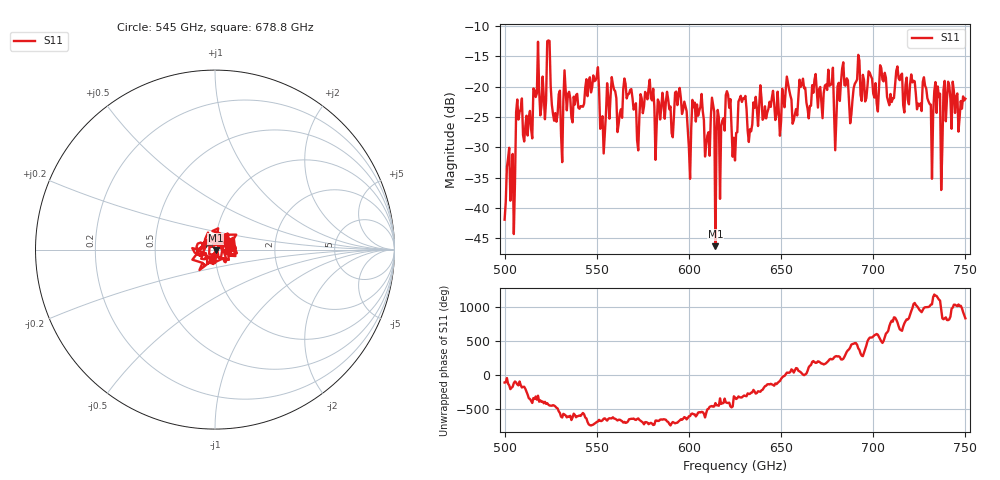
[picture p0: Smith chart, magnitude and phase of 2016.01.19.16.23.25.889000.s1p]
!Created with skrf (http://scikit-rf.org).
# GHz S RI R 50.0
!freq ReS11 ImS11
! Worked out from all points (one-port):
!   401 points, 500 GHz to 750 GHz, reference 50 ohm
!   lowest |S11| = -46.3 dB at 614.4 GHz (marker M1), VSWR 1.01, Z = 50.3 - j0.391 ohm
!   |S11| at or under -10 dB: start of sweep to end of sweep
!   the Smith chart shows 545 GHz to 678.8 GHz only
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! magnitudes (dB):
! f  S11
! 500 GHz  -41.9
! 504.4 GHz  -31.1
! 508.1 GHz  -24.1
! 513.8 GHz  -24.0
! 523.8 GHz  -12.4
! 526.9 GHz  -25.6
! 531.2 GHz  -32.4
! 549.4 GHz  -19.0
! 553.1 GHz  -24.9
! 558.8 GHz  -19.6
! 562.5 GHz  -24.4
! 593.8 GHz  -23.0
! 600 GHz  -30.1
! 605.6 GHz  -24.0
! 614.4 GHz  -46.3
! 621.2 GHz  -21.3
! 625 GHz  -32.2
! 628.1 GHz  -21.5
! 633.1 GHz  -27.0
! 656.2 GHz  -26.1
! 680 GHz  -25.0
! 684.4 GHz  -19.7
! 687.5 GHz  -26.0
! 691.2 GHz  -18.8
! 718.8 GHz  -22.1
! 738.1 GHz  -20.5
! 739.4 GHz  -25.7
! 750 GHz  -22.0
